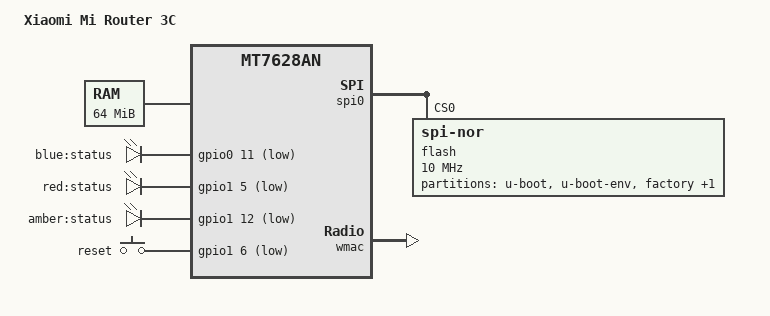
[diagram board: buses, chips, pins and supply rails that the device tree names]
//SPDX-License-Identifier: GPL-2.0-or-later OR MIT
/dts-v1/;

#include "mt7628an.dtsi"

#include <dt-bindings/gpio/gpio.h>
#include <dt-bindings/input/input.h>

/ {
	compatible = "xiaomi,mi-router-3c", "mediatek,mt7628an-soc";
	model = "Xiaomi Mi Router 3C";

	chosen {
		bootargs = "console=ttyS0,115200";
	};

	memory@0 {
		device_type = "memory";
		reg = <0x0 0x4000000>;
	};

	aliases {
		led-boot = &led_status_amber;
		led-failsafe = &led_status_red;
		led-running = &led_status_blue;
		led-upgrade = &led_status_amber;
		label-mac-device = &ethernet;
	};

	leds {
		compatible = "gpio-leds";

		led_status_blue: status_blue {
			label = "blue:status";
			gpios = <&gpio0 11 GPIO_ACTIVE_LOW>;
		};

		led_status_red: status_red {
			label = "red:status";
			gpios = <&gpio1 5 GPIO_ACTIVE_LOW>;
		};

		led_status_amber: status_amber {
			label = "amber:status";
			gpios = <&gpio1 12 GPIO_ACTIVE_LOW>;
		};
	};

	keys {
		compatible = "gpio-keys-polled";
		poll-interval = <20>;

		reset {
			label = "reset";
			gpios = <&gpio1 6 GPIO_ACTIVE_LOW>;
			linux,code = <KEY_RESTART>;
		};
	};
};

&spi0 {
	status = "okay";

	flash@0 {
		compatible = "jedec,spi-nor";
		reg = <0>;
		spi-max-frequency = <10000000>;

		partitions: partitions {
            compatible = "fixed-partitions";
            #address-cells = <1>;
            #size-cells = <1>;

            partition@0 {
                label = "u-boot";
                reg = <0x0 0x30000>;
                read-only;
            };

            partition@30000 {
                label = "u-boot-env";
                reg = <0x30000 0x10000>;
                read-only;
            };

            factory: partition@40000 {
                label = "factory";
                reg = <0x40000 0x10000>;
                read-only;
            };

            partition@50000 {
                label = "firmware";
                reg = <0x50000 0xf80000>;            
                compatible = "denx,uimage";
            };            
            
             /* additional partitions in DTS */
             /* https://www.right.com.cn/forum/forum.php?mod=viewthread&tid=5459952&extra=page%3D1&page=1 */
        };
	};
};
/*以上均已测试通过，勿修改*/

/*总线*/
&pinctrl {
	state_default: pinctrl0 {
		gpio {
			ralink,group = "gpio", "refclk", "wdt", "wled_an";
			ralink,function = "gpio";
		};
	};
};
/*总线*/

/*MAC地址获取地址*/
&ethernet {
	mtd-mac-address = <&factory 0x28>;
};
/*MAC地址获取地址*/

&esw {
	mediatek,portmap = <0x2f>;
		/* 无线2.4G无法开机启动怀疑是这里引起的,添加 "mediatek,portmap = <0x2f>;" 做第三次测试 */
	mediatek,portdisable = <0x2a>;
};

/*wan口默认启用*/
&wmac {
	status = "okay";
};
/*wan口默认启用*/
